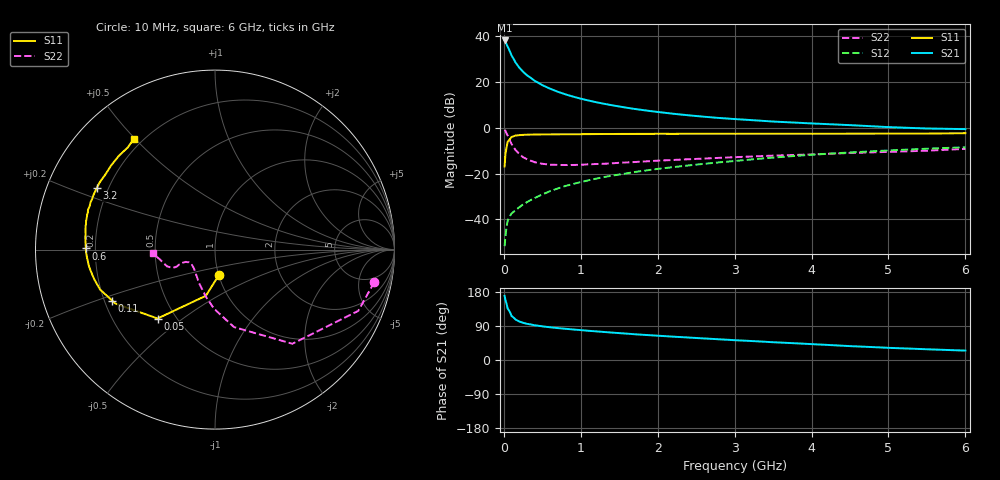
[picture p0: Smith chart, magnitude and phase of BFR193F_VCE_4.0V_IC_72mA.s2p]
! Infineon Technologies  Discrete & RF Semiconductors
! BFR193F
! VCE =  4.0 V,  IC =  72 mA
! Common Emitter S-Parameters:  Jan 2017
# GHz  S  MA  R  50
!  f  S11  S21  S12  S22
! GHz  MAG  ANG  MAG  ANG  MAG  ANG  MAG  ANG
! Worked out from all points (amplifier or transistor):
!   77 points, 10 MHz to 6 GHz, reference 50 ohm
!   highest |S21| = 38.2 dB at 10 MHz (marker M1)
!   |S21| within 3 dB of that: start of sweep to 54.67 MHz
!   unconditionally stable (mu >= 1): 636.1 MHz to 2.495 GHz
!   at 130 MHz: K = 0.60, MSG = 33.3 dB, |S12| = -36.6 dB
!   at 2.2 GHz: K = 1.01, MAG = 10.9 dB, |S12| = -17.2 dB
!   at 6 GHz: K = 0.87, MSG = 4.0 dB, |S12| = -8.5 dB
!   S11 on the Smith chart (normalised r, x): 10 MHz: 1.00, -0.29; 50 MHz: 0.40, -0.41; 110 MHz: 0.23, -0.22; 600 MHz: 0.16, +0.00; 3.2 GHz: 0.16, +0.24; 6 GHz: 0.17, +0.50
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0.01  0.1433 -81.2  81.01 169.3  0.0026 77.3  0.9057 -11.6
0.02  0.2618 -101.1  77.21 158.6  0.0041 74.8  0.8679 -23.2
0.05  0.4999 -129.8  59.58 135.5  0.0094 59.3  0.6789 -50.6
0.1  0.6314 -151.6  38.09 116.0  0.0134 53.3  0.4444 -76.2
0.11  0.6393 -153.6  35.83 114.7  0.0139 54.1  0.4197 -78.5
0.15  0.6779 -160.9  27.07 107.1  0.0157 56.7  0.3299 -90.9
0.2  0.6927 -166.2  20.75 101.7  0.0184 58.1  0.2691 -100.6
0.25  0.7017 -169.9  16.77 98.2  0.0213 60.2  0.2277 -109.1
0.3  0.708 -172.3  14.09 95.5  0.0238 63.3  0.2067 -115.6
0.4  0.7137 -176.0  10.65 91.6  0.0292 66.9  0.1776 -125.6
0.5  0.7182 -178.6  8.561 88.8  0.035 70.4  0.1642 -132.9
0.6  0.72 179.5  7.167 86.4  0.0413 72.0  0.1567 -138.9
0.7  0.7213 177.5  6.15 84.2  0.0473 72.9  0.155 -142.8
0.8  0.7234 176.2  5.391 82.4  0.0536 73.9  0.1539 -146.5
1.1  0.7286 171.9  3.948 77.1  0.0714 75.1  0.1598 -152.1
1.5  0.7357 167.7  2.925 71.0  0.0955 75.5  0.1722 -156.2
2.1  0.7403 161.8  2.126 62.9  0.1326 74.6  0.1952 -157.7
3.1  0.7421 153.4  1.518 51.3  0.1954 72.0  0.2321 -156.2
3.2  0.7423 152.6  1.481 50.3  0.2025 71.6  0.2358 -156.2
4.1  0.7409 144.6  1.227 40.9  0.2642 67.4  0.2663 -158.2
5.1  0.7477 134.7  1.023 31.4  0.3264 61.4  0.3019 -167.1
6  0.7646 126.2  0.937 24.8  0.3768 55.8  0.3467 -176.5
